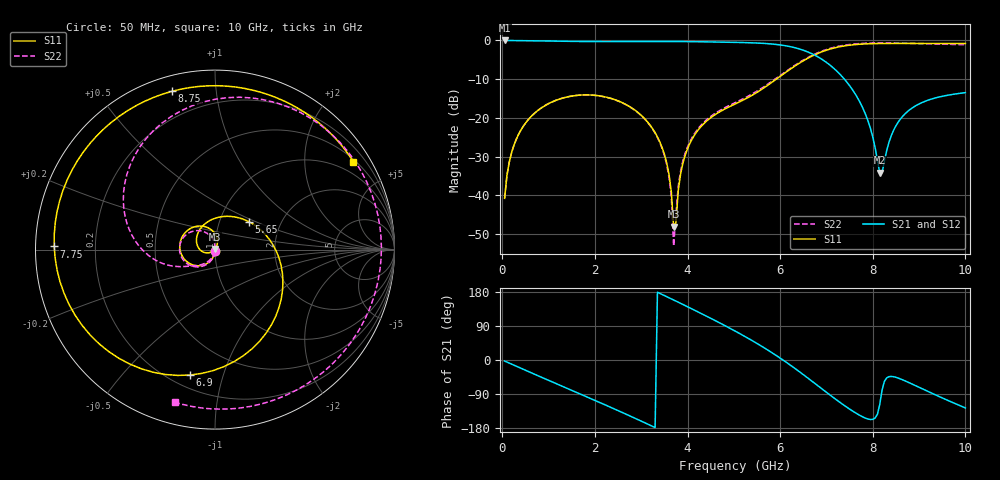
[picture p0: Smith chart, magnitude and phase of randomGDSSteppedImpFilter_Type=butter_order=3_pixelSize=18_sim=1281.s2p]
! freq	dB(S11)	phase(S11)	dB(S12)	phase(S12)
!  dB(S21)	phase(S21)	dB(S22)	phase(S22)
!S-par simulation data
#  GHz  S  DB  R 50
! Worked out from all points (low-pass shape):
!   200 points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, 50 MHz to 10 GHz, reference 50 ohm
!   highest |S21| = -0.01 dB at 50 MHz (marker M1); lowest = -34.2 dB at 8.15 GHz (marker M2)
!   |S21| within 3 dB of the highest: start of sweep to 6.604 GHz
!   lowest |S11| = -48.1 dB at 3.7 GHz (marker M3), VSWR 1.01, Z = 50.1 + j0.389 ohm
!   |S11| at or under -10 dB: start of sweep to 5.917 GHz
!   |S22| runs from -53.1 to -0.7 dB; largest |S21 - S12| = 0
!   S11 on the Smith chart (normalised r, x): 50 MHz: 1.00, -0.02; 5.65 GHz: 1.37, +0.46; 6.9 GHz: 0.28, -0.78; 7.75 GHz: 0.05, +0.01; 8.75 GHz: 0.07, +0.76; 10 GHz: 0.57, +3.35
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0.05  -40.78 -91.5  -0.01 -2.8  -0.01 -2.8  -40.80 -91.6
0.2  -29.01 -101.4  -0.02 -10.9  -0.02 -10.9  -29.01 -100.5
0.5  -21.37 -118.6  -0.07 -27.0  -0.07 -27.0  -21.37 -116.5
1.75  -14.08 171.6  -0.28 -93.3  -0.28 -93.3  -14.08 -179.8
2.75  -17.09 113.7  -0.26 -147.3  -0.26 -147.3  -17.14 130.5
3.4  -26.17 73.8  -0.24 175.9  -0.24 175.9  -26.35 98.7
3.6  -34.60 63.7  -0.25 164.3  -0.25 164.3  -35.27 89.8
3.65  -39.10 64.0  -0.26 161.4  -0.26 161.4  -40.40 88.3
3.7  -48.13 82.2  -0.26 158.4  -0.26 158.4  -53.14 104.7
3.8  -38.71 -144.7  -0.27 152.5  -0.27 152.5  -37.60 -101.8
4  -27.96 -153.2  -0.30 140.6  -0.30 140.6  -27.50 -109.9
5.05  -16.29 112.1  -0.50 74.9  -0.50 74.9  -15.94 -145.0
5.65  -12.26 39.9  -0.77 32.6  -0.77 32.6  -11.96 -158.7
6.15  -7.99 -19.5  -1.44 -7.5  -1.44 -7.5  -7.77 179.6
6.7  -3.97 -80.3  -3.52 -57.1  -3.52 -57.1  -3.80 139.4
6.9  -2.94 -101.3  -4.86 -75.9  -4.86 -75.9  -2.76 121.9
7.35  -1.49 -145.7  -9.49 -117.0  -9.49 -117.0  -1.31 80.7
7.75  -0.95 178.9  -16.59 -148.1  -16.59 -148.1  -0.78 45.0
8.15  -0.79 147.2  -34.19 -118.0  -34.19 -118.0  -0.65 12.1
8.35  -0.78 132.6  -26.30 -43.9  -26.30 -43.9  -0.66 -3.2
8.75  -0.78 105.2  -18.37 -57.9  -18.37 -57.9  -0.74 -31.4
10  -0.79 32.4  -13.48 -126.5  -13.48 -126.5  -1.12 -104.8
